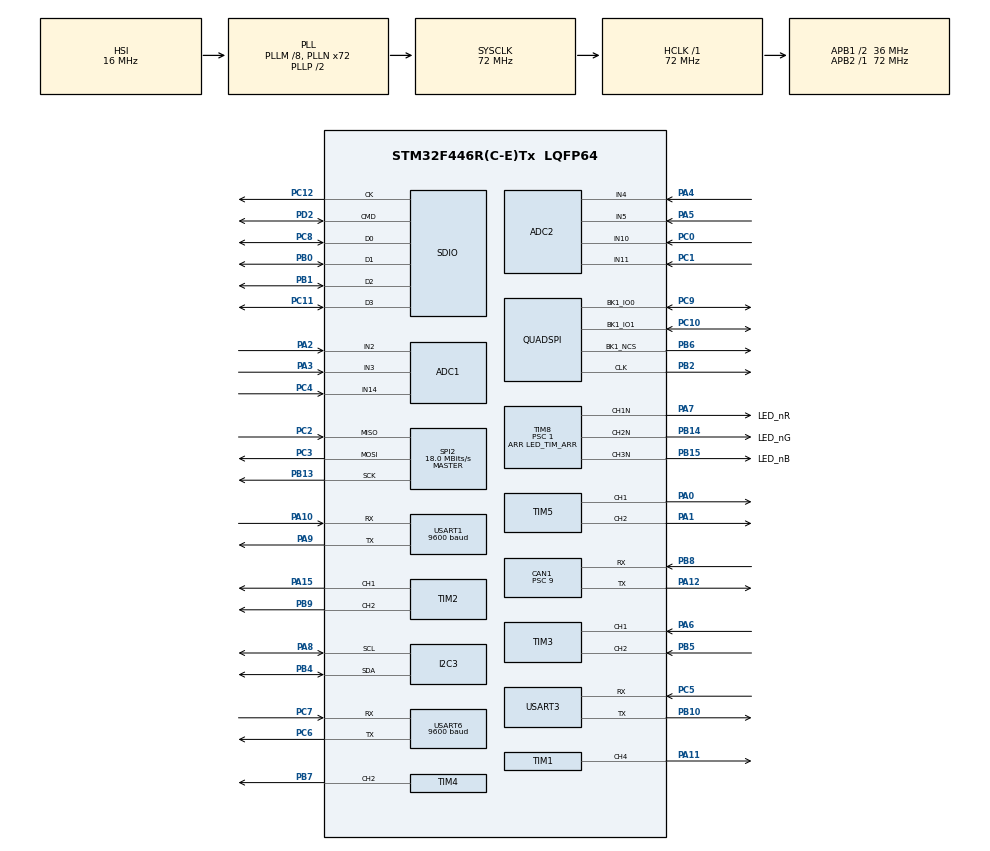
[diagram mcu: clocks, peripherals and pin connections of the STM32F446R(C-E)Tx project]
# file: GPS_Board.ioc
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ADC1.Channel-95\#ChannelRegularConversion=ADC_CHANNEL_2
ADC1.NbrOfConversionFlag=1
ADC1.Rank-95\#ChannelRegularConversion=1
ADC1.SamplingTime-95\#ChannelRegularConversion=ADC_SAMPLETIME_3CYCLES
ADC1.master=1
ADC2.Channel-88\#ChannelRegularConversion=ADC_CHANNEL_4
ADC2.NbrOfConversionFlag=1
ADC2.Rank-88\#ChannelRegularConversion=1
ADC2.SamplingTime-88\#ChannelRegularConversion=ADC_SAMPLETIME_3CYCLES
CAN1.BS1=CAN_BS1_13TQ
CAN1.BS2=CAN_BS2_2TQ
CAN1.CalculateTimeQuantum=250.0
CAN1.Prescaler=9
Dma.I2C3_RX.2.Direction=DMA_PERIPH_TO_MEMORY
Dma.I2C3_RX.2.FIFOMode=DMA_FIFOMODE_DISABLE
Dma.I2C3_RX.2.Instance=DMA1_Stream2
Dma.I2C3_RX.2.MemDataAlignment=DMA_MDATAALIGN_BYTE
Dma.I2C3_RX.2.MemInc=DMA_MINC_ENABLE
Dma.I2C3_RX.2.Mode=DMA_NORMAL
Dma.I2C3_RX.2.PeriphDataAlignment=DMA_PDATAALIGN_BYTE
Dma.I2C3_RX.2.PeriphInc=DMA_PINC_DISABLE
Dma.I2C3_RX.2.Priority=DMA_PRIORITY_LOW
Dma.Request0=SDIO_RX
Dma.Request1=SDIO_TX
Dma.Request2=I2C3_RX
Dma.Request3=USART3_RX
Dma.Request4=USART3_TX
Dma.SDIO_RX.0.Direction=DMA_PERIPH_TO_MEMORY
Dma.SDIO_RX.0.FIFOMode=DMA_FIFOMODE_ENABLE
Dma.SDIO_RX.0.FIFOThreshold=DMA_FIFO_THRESHOLD_FULL
Dma.SDIO_RX.0.Instance=DMA2_Stream6
Dma.SDIO_RX.0.MemBurst=DMA_MBURST_INC4
Dma.SDIO_RX.0.MemDataAlignment=DMA_MDATAALIGN_WORD
Dma.SDIO_RX.0.MemInc=DMA_MINC_ENABLE
Dma.SDIO_RX.0.Mode=DMA_PFCTRL
Dma.SDIO_RX.0.PeriphBurst=DMA_PBURST_INC4
Dma.SDIO_RX.0.PeriphDataAlignment=DMA_PDATAALIGN_WORD
Dma.SDIO_RX.0.PeriphInc=DMA_PINC_DISABLE
Dma.SDIO_RX.0.Priority=DMA_PRIORITY_LOW
Dma.SDIO_TX.1.Direction=DMA_MEMORY_TO_PERIPH
Dma.SDIO_TX.1.FIFOMode=DMA_FIFOMODE_ENABLE
Dma.SDIO_TX.1.FIFOThreshold=DMA_FIFO_THRESHOLD_FULL
Dma.SDIO_TX.1.Instance=DMA2_Stream3
Dma.SDIO_TX.1.MemBurst=DMA_MBURST_INC4
Dma.SDIO_TX.1.MemDataAlignment=DMA_MDATAALIGN_WORD
Dma.SDIO_TX.1.MemInc=DMA_MINC_ENABLE
Dma.SDIO_TX.1.Mode=DMA_PFCTRL
Dma.SDIO_TX.1.PeriphBurst=DMA_PBURST_INC4
Dma.SDIO_TX.1.PeriphDataAlignment=DMA_PDATAALIGN_WORD
Dma.SDIO_TX.1.PeriphInc=DMA_PINC_DISABLE
Dma.SDIO_TX.1.Priority=DMA_PRIORITY_LOW
Dma.USART3_RX.3.Direction=DMA_PERIPH_TO_MEMORY
Dma.USART3_RX.3.FIFOMode=DMA_FIFOMODE_DISABLE
Dma.USART3_RX.3.Instance=DMA1_Stream1
Dma.USART3_RX.3.MemDataAlignment=DMA_MDATAALIGN_BYTE
Dma.USART3_RX.3.MemInc=DMA_MINC_ENABLE
Dma.USART3_RX.3.Mode=DMA_NORMAL
Dma.USART3_RX.3.PeriphDataAlignment=DMA_PDATAALIGN_BYTE
Dma.USART3_RX.3.PeriphInc=DMA_PINC_DISABLE
Dma.USART3_RX.3.Priority=DMA_PRIORITY_LOW
Dma.USART3_TX.4.Direction=DMA_MEMORY_TO_PERIPH
Dma.USART3_TX.4.FIFOMode=DMA_FIFOMODE_DISABLE
Dma.USART3_TX.4.Instance=DMA1_Stream4
Dma.USART3_TX.4.MemDataAlignment=DMA_MDATAALIGN_BYTE
Dma.USART3_TX.4.MemInc=DMA_MINC_ENABLE
Dma.USART3_TX.4.Mode=DMA_NORMAL
Dma.USART3_TX.4.PeriphDataAlignment=DMA_PDATAALIGN_BYTE
Dma.USART3_TX.4.PeriphInc=DMA_PINC_DISABLE
Dma.USART3_TX.4.Priority=DMA_PRIORITY_LOW
FATFS._USE_STRFUNC=0
Mcu.Family=STM32F4
Mcu.Name=STM32F446R(C-E)Tx
Mcu.Package=LQFP64
Mcu.UserConstants=LED_TIM_ARR,1000
NVIC.DMA1_Stream1_IRQn=true\:0\:0\:false\:false\:true\:false
NVIC.DMA1_Stream2_IRQn=true\:0\:0\:false\:false\:true\:false
NVIC.DMA1_Stream4_IRQn=true\:0\:0\:false\:false\:true\:false
NVIC.DMA2_Stream3_IRQn=true\:0\:0\:false\:false\:true\:false
NVIC.DMA2_Stream6_IRQn=true\:0\:0\:false\:false\:true\:false
NVIC.PriorityGroup=NVIC_PRIORITYGROUP_4
NVIC.SDIO_IRQn=true\:0\:0\:false\:false\:true\:true
PA0-WKUP.Signal=S_TIM5_CH1
PA1.Signal=S_TIM5_CH2
PA10.Mode=Asynchronous
PA10.Signal=USART1_RX
PA11.Signal=S_TIM1_CH4
PA12.Mode=Master
PA12.Signal=CAN1_TX
PA13.Mode=Trace_Asynchronous_SW
PA13.Signal=SYS_JTMS-SWDIO
PA14.Mode=Trace_Asynchronous_SW
PA14.Signal=SYS_JTCK-SWCLK
PA15.Signal=S_TIM2_CH1_ETR
PA2.Signal=ADCx_IN2
PA3.Signal=ADCx_IN3
PA4.Signal=ADCx_IN4
PA5.Signal=ADCx_IN5
PA6.Signal=S_TIM3_CH1
PA7.GPIO_Label=LED_nR
PA7.Mode=PWM Generation1 CH1N
PA7.Signal=TIM8_CH1N
PA8.Mode=I2C
PA8.Signal=I2C3_SCL
PA9.Mode=Asynchronous
PA9.Signal=USART1_TX
PB0.Mode=SD_4_bits_Wide_bus
PB0.Signal=SDIO_D1
PB1.Mode=SD_4_bits_Wide_bus
PB1.Signal=SDIO_D2
PB10.Mode=Asynchronous
PB10.Signal=USART3_TX
PB13.Mode=Full_Duplex_Master
PB13.Signal=SPI2_SCK
PB14.GPIO_Label=LED_nG
PB14.Mode=PWM Generation2 CH2N
PB14.Signal=TIM8_CH2N
PB15.GPIO_Label=LED_nB
PB15.Mode=PWM Generation3 CH3N
PB15.Signal=TIM8_CH3N
PB2.Mode=Single Bank 1 2IOs
PB2.Signal=QUADSPI_CLK
PB3.Mode=Trace_Asynchronous_SW
PB3.Signal=SYS_JTDO-SWO
PB4.Mode=I2C
PB4.Signal=I2C3_SDA
PB5.Signal=S_TIM3_CH2
PB6.Mode=Single Bank 1 2IOs
PB6.Signal=QUADSPI_BK1_NCS
PB7.Signal=S_TIM4_CH2
PB8.Mode=Master
PB8.Signal=CAN1_RX
PB9.Signal=S_TIM2_CH2
PC0.Signal=ADCx_IN10
PC1.Signal=ADCx_IN11
PC10.Mode=Single Bank 1 2IOs
PC10.Signal=QUADSPI_BK1_IO1
PC11.Mode=SD_4_bits_Wide_bus
PC11.Signal=SDIO_D3
PC12.Mode=SD_4_bits_Wide_bus
PC12.Signal=SDIO_CK
PC14-OSC32_IN.Mode=LSE-External-Oscillator
PC14-OSC32_IN.Signal=RCC_OSC32_IN
PC15-OSC32_OUT.Mode=LSE-External-Oscillator
PC15-OSC32_OUT.Signal=RCC_OSC32_OUT
PC2.Mode=Full_Duplex_Master
PC2.Signal=SPI2_MISO
PC3.Mode=Full_Duplex_Master
PC3.Signal=SPI2_MOSI
PC4.Signal=ADCx_IN14
PC5.Mode=Asynchronous
PC5.Signal=USART3_RX
PC6.Mode=Asynchronous
PC6.Signal=USART6_TX
PC7.Mode=Asynchronous
PC7.Signal=USART6_RX
PC8.Mode=SD_4_bits_Wide_bus
PC8.Signal=SDIO_D0
PC9.Mode=Single Bank 1 2IOs
PC9.Signal=QUADSPI_BK1_IO0
PD2.Mode=SD_4_bits_Wide_bus
PD2.Signal=SDIO_CMD
PH0-OSC_IN.Mode=HSE-External-Oscillator
PH0-OSC_IN.Signal=RCC_OSC_IN
PH1-OSC_OUT.Mode=HSE-External-Oscillator
PH1-OSC_OUT.Signal=RCC_OSC_OUT
ProjectManager.HeapSize=0x200
ProjectManager.StackSize=0x400
ProjectManager.TargetToolchain=TrueSTUDIO
RCC.AHBFreq_Value=72000000
RCC.APB1CLKDivider=RCC_HCLK_DIV2
RCC.APB1Freq_Value=36000000
RCC.APB1TimFreq_Value=72000000
RCC.APB2Freq_Value=72000000
RCC.APB2TimFreq_Value=72000000
RCC.CortexFreq_Value=72000000
RCC.HCLKFreq_Value=72000000
RCC.HSE_VALUE=8000000
RCC.PLLM=8
RCC.PLLN=72
RCC.PLLQ=3
RCC.SYSCLKFreq_VALUE=72000000
RCC.SYSCLKSource=RCC_SYSCLKSOURCE_PLLCLK
RCC.USBFreq_Value=48000000
RCC.VCOOutputFreq_Value=144000000
SH.ADCx_IN10.0=ADC2_IN10,IN10
SH.ADCx_IN11.0=ADC2_IN11,IN11
SH.ADCx_IN14.0=ADC1_IN14,IN14
SH.ADCx_IN2.0=ADC1_IN2,IN2
SH.ADCx_IN3.0=ADC1_IN3,IN3
SH.ADCx_IN4.0=ADC2_IN4,IN4
SH.ADCx_IN5.0=ADC2_IN5,IN5
SH.S_TIM1_CH4.0=TIM1_CH4,Output Compare4 CH4
SH.S_TIM2_CH1_ETR.0=TIM2_CH1,Output Compare1 CH1
SH.S_TIM2_CH2.0=TIM2_CH2,Output Compare2 CH2
SH.S_TIM3_CH1.0=TIM3_CH1,TriggerSource_TI1FP1
SH.S_TIM3_CH2.0=TIM3_CH2,Input_Capture2_from_TI2
SH.S_TIM4_CH2.0=TIM4_CH2,Output Compare2 CH2
SH.S_TIM5_CH1.0=TIM5_CH1,Output Compare1 CH1
SH.S_TIM5_CH2.0=TIM5_CH2,Output Compare2 CH2
SPI2.BaudRatePrescaler=SPI_BAUDRATEPRESCALER_2
SPI2.CalculateBaudRate=18.0 MBits/s
SPI2.Direction=SPI_DIRECTION_2LINES
SPI2.Mode=SPI_MODE_MASTER
SPI2.VirtualType=VM_MASTER
TIM1.Channel-Output\ Compare4\ CH4=TIM_CHANNEL_4
TIM2.Channel-Output\ Compare1\ CH1=TIM_CHANNEL_1
TIM2.Channel-Output\ Compare2\ CH2=TIM_CHANNEL_2
TIM3.Channel-Input_Capture2_from_TI2=TIM_CHANNEL_2
TIM4.Channel-Output\ Compare2\ CH2=TIM_CHANNEL_2
TIM5.Channel-Output\ Compare1\ CH1=TIM_CHANNEL_1
TIM5.Channel-Output\ Compare2\ CH2=TIM_CHANNEL_2
TIM8.Channel-PWM\ Generation1\ CH1N=TIM_CHANNEL_1
TIM8.Channel-PWM\ Generation2\ CH2N=TIM_CHANNEL_2
TIM8.Channel-PWM\ Generation3\ CH3N=TIM_CHANNEL_3
TIM8.OCMode_PWM-PWM\ Generation1\ CH1N=TIM_OCMODE_PWM2
TIM8.OCMode_PWM-PWM\ Generation2\ CH2N=TIM_OCMODE_PWM2
TIM8.OCMode_PWM-PWM\ Generation3\ CH3N=TIM_OCMODE_PWM2
TIM8.Period=LED_TIM_ARR
TIM8.Prescaler=1
USART1.BaudRate=9600
USART1.VirtualMode=VM_ASYNC
USART3.VirtualMode=VM_ASYNC
USART6.BaudRate=9600
USART6.VirtualMode=VM_ASYNC
VP_FATFS_VS_SDIO.Mode=SDIO
VP_TIM1_VS_ClockSourceINT.Mode=Internal
VP_TIM2_VS_ClockSourceINT.Mode=Internal
VP_TIM3_VS_ControllerModeClock.Mode=Clock Mode
VP_TIM4_VS_ClockSourceINT.Mode=Internal
VP_TIM5_VS_ClockSourceINT.Mode=Internal
VP_TIM8_VS_ClockSourceINT.Mode=Internal
board=custom

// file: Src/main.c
/* USER CODE BEGIN Header */
/**
  ******************************************************************************
  * @file           : main.c
  * @brief          : Main program body
  ******************************************************************************
  * This notice applies to any and all portions of this file
  * that are not between comment pairs USER CODE BEGIN and
  * USER CODE END. Other portions of this file, whether
  * inserted by the user or by software development tools
  * are owned by their respective copyright owners.
  *
  * Copyright (c) 2019 STMicroelectronics International N.V.
  * All rights reserved.
  *
  * Redistribution and use in source and binary forms, with or without
  * modification, are permitted, provided that the following conditions are met:
  *
  * 1. Redistribution of source code must retain the above copyright notice,
  *    this list of conditions and the following disclaimer.
  * 2. Redistributions in binary form must reproduce the above copyright notice,
  *    this list of conditions and the following disclaimer in the documentation
  *    and/or other materials provided with the distribution.
  * 3. Neither the name of STMicroelectronics nor the names of other
  *    contributors to this software may be used to endorse or promote products
  *    derived from this software without specific written permission.
  * 4. This software, including modifications and/or derivative works of this
  *    software, must execute solely and exclusively on microcontroller or
  *    microprocessor devices manufactured by or for STMicroelectronics.
  * 5. Redistribution and use of this software other than as permitted under
  *    this license is void and will automatically terminate your rights under
  *    this license.
  *
  * THIS SOFTWARE IS PROVIDED BY STMICROELECTRONICS AND CONTRIBUTORS "AS IS"
  * AND ANY EXPRESS, IMPLIED OR STATUTORY WARRANTIES, INCLUDING, BUT NOT
  * LIMITED TO, THE IMPLIED WARRANTIES OF MERCHANTABILITY, FITNESS FOR A
  * PARTICULAR PURPOSE AND NON-INFRINGEMENT OF THIRD PARTY INTELLECTUAL PROPERTY
  * RIGHTS ARE DISCLAIMED TO THE FULLEST EXTENT PERMITTED BY LAW. IN NO EVENT
  * SHALL STMICROELECTRONICS OR CONTRIBUTORS BE LIABLE FOR ANY DIRECT, INDIRECT,
  * INCIDENTAL, SPECIAL, EXEMPLARY, OR CONSEQUENTIAL DAMAGES (INCLUDING, BUT NOT
  * LIMITED TO, PROCUREMENT OF SUBSTITUTE GOODS OR SERVICES; LOSS OF USE, DATA,
  * OR PROFITS; OR BUSINESS INTERRUPTION) HOWEVER CAUSED AND ON ANY THEORY OF
  * LIABILITY, WHETHER IN CONTRACT, STRICT LIABILITY, OR TORT (INCLUDING
  * NEGLIGENCE OR OTHERWISE) ARISING IN ANY WAY OUT OF THE USE OF THIS SOFTWARE,
  * EVEN IF ADVISED OF THE POSSIBILITY OF SUCH DAMAGE.
  *
  ******************************************************************************
  */
/* USER CODE END Header */

#include "main.h"
#include "adc.h"
#include "can.h"
#include "dma.h"
#include "fatfs.h"
#include "i2c.h"
#include "quadspi.h"
#include "sdio.h"
#include "spi.h"
#include "tim.h"
#include "usart.h"
#include "gpio.h"

/* USER CODE BEGIN Includes */
#include "lib/ert_lib.h"
#include "led.h"
#include "Sensors/GPS/minmea.h"
#include <string.h>
/* USER CODE END Includes */

/* USER CODE BEGIN PV */
uint8_t rx;
char tx[300];
char line[MINMEA_MAX_LENGTH];
struct minmea_sentence_gga gga;
/* USER CODE END PV */

void SystemClock_Config(void);

int main(void)
{

  /* MCU Configuration--------------------------------------------------------*/

  /* Reset of all peripherals, Initializes the Flash interface and the Systick. */
  HAL_Init();

  /* Configure the system clock */
  SystemClock_Config();

  /* Initialize all configured peripherals */
  MX_GPIO_Init();
  MX_DMA_Init();
  MX_ADC1_Init();
  MX_ADC2_Init();
  MX_CAN1_Init();
  MX_I2C3_Init();
  MX_QUADSPI_Init();
  MX_SDIO_SD_Init();
  MX_SPI2_Init();
  MX_TIM1_Init();
  MX_TIM2_Init();
  MX_TIM3_Init();
  MX_TIM4_Init();
  MX_TIM5_Init();
  MX_TIM8_Init();
  MX_USART1_UART_Init();
  MX_USART3_UART_Init();
  MX_USART6_UART_Init();
  MX_FATFS_Init();
  /* USER CODE BEGIN 2 */
  led_init();
  INFO("GPS PARSER\n");
  led_set_rgb(150, 150, 150);
  /* USER CODE END 2 */

  /* Infinite loop */
  /* USER CODE BEGIN WHILE */
  uint8_t idx = 0;
  uint32_t cntr = 0;
  float latitude = 0.0f;
  float longitude = 0.0f;
  float altitude = 0.0f;
  while (1)
  {
	  while(1)
	  {
		  HAL_UART_Receive(&huart6, &rx, 1, 100);
		  if(rx == '$')
		  {
			  idx = 0;
			  line[idx] = rx;
			  break;
		  }
	  }
	  while(1)
	  {
		  HAL_UART_Receive(&huart6, &rx, 1, 100);
		  if(rx == '\n' || rx == '\r' || rx == '$')
		  {
			  line[++idx] = '\0';
			  break;
		  }
		  line[++idx] = rx;
	  }
	  if(minmea_sentence_id(line, false) == MINMEA_SENTENCE_GGA)
	  {
		  minmea_parse_gga(&gga, line);
		  if(gga.fix_quality)
		  {
			  latitude = minmea_tocoord(&(gga.latitude));
			  longitude = minmea_tocoord(&(gga.longitude));
			  altitude = minmea_tofloat(&(gga.altitude));
			  sprintf(tx, "Time: %dH%dM%dS\nPosition: %f, %f, %f\n", gga.time.hours,
					  gga.time.minutes, gga.time.seconds, latitude, longitude, altitude);
			  led_set_rgb(0, 150, 0);
			  cntr = 0;
		  }
		  else
		  {
			  sprintf(tx, "Waiting for a fix... (%d)\n", cntr++);
			  led_set_rgb(150, 0, 0);
		  }
		  INFO(tx);
	  }
    /* USER CODE END WHILE */

    /* USER CODE BEGIN 3 */
//	  HAL_UART_Receive(&huart6, &rx, 1, 100);
//	  INFO(&rx);
  }
  /* USER CODE END 3 */
}

void SystemClock_Config(void)
{
  RCC_OscInitTypeDef RCC_OscInitStruct = {0};
  RCC_ClkInitTypeDef RCC_ClkInitStruct = {0};
  RCC_PeriphCLKInitTypeDef PeriphClkInitStruct = {0};

  /**Configure the main internal regulator output voltage
  */
  __HAL_RCC_PWR_CLK_ENABLE();
  __HAL_PWR_VOLTAGESCALING_CONFIG(PWR_REGULATOR_VOLTAGE_SCALE3);
  /**Initializes the CPU, AHB and APB busses clocks
  */
  RCC_OscInitStruct.OscillatorType = RCC_OSCILLATORTYPE_HSI;
  RCC_OscInitStruct.HSIState = RCC_HSI_ON;
  RCC_OscInitStruct.HSICalibrationValue = RCC_HSICALIBRATION_DEFAULT;
  RCC_OscInitStruct.PLL.PLLState = RCC_PLL_ON;
  RCC_OscInitStruct.PLL.PLLSource = RCC_PLLSOURCE_HSI;
  RCC_OscInitStruct.PLL.PLLM = 8;
  RCC_OscInitStruct.PLL.PLLN = 72;
  RCC_OscInitStruct.PLL.PLLP = RCC_PLLP_DIV2;
  RCC_OscInitStruct.PLL.PLLQ = 3;
  RCC_OscInitStruct.PLL.PLLR = 2;
  if (HAL_RCC_OscConfig(&RCC_OscInitStruct) != HAL_OK)
  {
    Error_Handler();
  }
  /**Initializes the CPU, AHB and APB busses clocks
  */
  RCC_ClkInitStruct.ClockType = RCC_CLOCKTYPE_HCLK|RCC_CLOCKTYPE_SYSCLK
                              |RCC_CLOCKTYPE_PCLK1|RCC_CLOCKTYPE_PCLK2;
  RCC_ClkInitStruct.SYSCLKSource = RCC_SYSCLKSOURCE_PLLCLK;
  RCC_ClkInitStruct.AHBCLKDivider = RCC_SYSCLK_DIV1;
  RCC_ClkInitStruct.APB1CLKDivider = RCC_HCLK_DIV2;
  RCC_ClkInitStruct.APB2CLKDivider = RCC_HCLK_DIV1;

  if (HAL_RCC_ClockConfig(&RCC_ClkInitStruct, FLASH_LATENCY_2) != HAL_OK)
  {
    Error_Handler();
  }
  PeriphClkInitStruct.PeriphClockSelection = RCC_PERIPHCLK_SDIO|RCC_PERIPHCLK_CLK48;
  PeriphClkInitStruct.Clk48ClockSelection = RCC_CLK48CLKSOURCE_PLLQ;
  PeriphClkInitStruct.SdioClockSelection = RCC_SDIOCLKSOURCE_CLK48;
  if (HAL_RCCEx_PeriphCLKConfig(&PeriphClkInitStruct) != HAL_OK)
  {
    Error_Handler();
  }
}

void Error_Handler(void)
{
}

/************************ (C) COPYRIGHT STMicroelectronics *****END OF FILE****/
